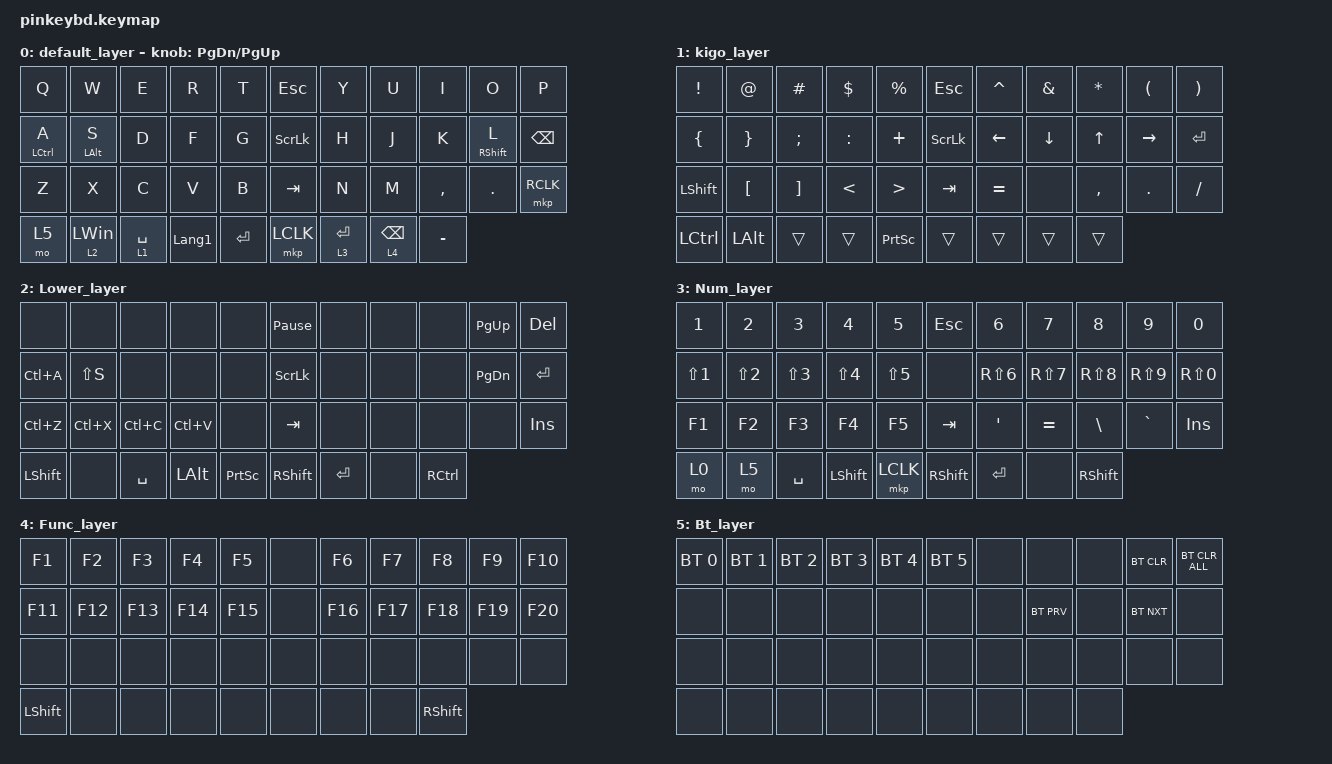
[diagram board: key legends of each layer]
#include <behaviors.dtsi>
#include <dt-bindings/zmk/bt.h>
#include <dt-bindings/zmk/keys.h>
#include <dt-bindings/zmk/pointing.h>

#define ZMK_POINTING_DEFAULT_SCRL_VAL 80

&lt { tapping-term-ms = <140>; };

/ {
    behaviors {
        rot_kp: sensor_rotate_kp {
            compatible = "zmk,behavior-sensor-rotate-var";
            #sensor-binding-cells = <2>;
            bindings = <&kp>, <&kp>;
        };
    };

    keymap {
        compatible = "zmk,keymap";

        // ---------------------------------------------------------------------------------------------------------------------------------------------------------------------------------------------------------------
        // |        /       |       ,       |       .       |      -        |      ;       |    ESC         |                   |           |       L      |       R       |       D       |       Y       |      P      |
        // |        A       |       O       |       E       |      I        |      U       |    SCROLLLOCK  |                   |           |       G      |       N       |       T       |       S       |      K      |
        // |        X       |       C       |       V       |      W        |      Q       |    TAB         |                   |     F     |       J      |       H       |       M       |       B       |      Z      |
        // |    L_SHIFT     |               |               |   LOWER / Jp  |    Space     |    LEFT_WIN    |                   |  R_SHIFT  |      ENTER   |  LOWER2 / Ja  |               |               |   FUN_L     |
        // ---------------------------------------------------------------------------------------------------------------------------------------------------------------------------------------------------------------

        default_layer {
            bindings = <
&kp Q        &kp W           &kp E        &kp R           &kp T      &kp ESC         &kp Y        &kp U            &kp I      &kp O              &kp P
&mt LCTRL A  &mt LEFT_ALT S  &kp D        &kp F           &kp G      &kp SCROLLLOCK  &kp H        &kp J            &kp K      &mt RIGHT_SHIFT L  &kp BACKSPACE
&kp Z        &kp X           &kp C        &kp V           &kp B      &kp TAB         &kp N        &kp M            &kp COMMA  &kp PERIOD         &mkp RCLK
&mo 5        &lt 2 LEFT_WIN  &lt 1 SPACE  &kp LANGUAGE_1  &kp ENTER  &mkp LCLK       &lt 3 ENTER  &lt 4 BACKSPACE  &kp MINUS
            >;

            sensor-bindings = <&rot_kp PG_DN PG_UP>;
        };

        kigo_layer {
            bindings = <
&kp EXCLAMATION  &kp AT_SIGN       &kp HASH           &kp DOLLAR     &kp PERCENT       &kp ESCAPE      &kp CARET  &kp AMPERSAND  &kp ASTERISK  &kp LEFT_PARENTHESIS  &kp RIGHT_PARENTHESIS
&kp LEFT_BRACE   &kp RIGHT_BRACE   &kp SEMICOLON      &kp COLON      &kp PLUS          &kp SCROLLLOCK  &kp LEFT   &kp DOWN       &kp UP_ARROW  &kp RIGHT             &kp ENTER
&kp LEFT_SHIFT   &kp LEFT_BRACKET  &kp RIGHT_BRACKET  &kp LESS_THAN  &kp GREATER_THAN  &kp TAB         &kp EQUAL  &none          &kp COMMA     &kp PERIOD            &kp SLASH
&kp LCTRL        &kp LEFT_ALT      &trans             &trans         &kp PRINTSCREEN   &trans          &trans     &trans         &trans
            >;
        };

        Lower_layer {
            bindings = <
&none       &none      &none      &none      &none      &kp PAUSE_BREAK  &none      &none  &none      &kp PAGE_UP    &kp DELETE
&kp LC(A)   &kp LS(S)  &none      &none      &none      &kp SCROLLLOCK   &none      &none  &none      &kp PAGE_DOWN  &kp ENTER
&kp LC(Z)   &kp LC(X)  &kp LC(C)  &kp LC(V)  &none      &kp TAB          &none      &none  &none      &none          &kp INS
&kp LSHIFT  &none      &kp SPACE  &kp LALT   &kp PSCRN  &kp RSHIFT       &kp ENTER  &none  &kp RCTRL
            >;
        };

        Num_layer {
            bindings = <
&kp N1      &kp N2      &kp N3      &kp N4      &kp N5      &kp ESC     &kp N6      &kp N7      &kp N8      &kp N9      &kp N0
&kp LS(N1)  &kp LS(N2)  &kp LS(N3)  &kp LS(N4)  &kp LS(N5)  &none       &kp RS(N6)  &kp RS(N7)  &kp RS(N8)  &kp RS(N9)  &kp RS(N0)
&kp F1      &kp F2      &kp F3      &kp F4      &kp F5      &kp TAB     &kp APOS    &kp EQUAL   &kp BSLH    &kp GRAVE   &kp INS
&mo 0       &mo 5       &kp SPACE   &kp LSHIFT  &mkp LCLK   &kp RSHIFT  &kp ENTER   &none       &kp RSHIFT
            >;
        };

        Func_layer {
            bindings = <
&kp F1      &kp F2   &kp F3   &kp F4   &kp F5   &none  &kp F6   &kp F7   &kp F8      &kp F9   &kp F10
&kp F11     &kp F12  &kp F13  &kp F14  &kp F15  &none  &kp F16  &kp F17  &kp F18     &kp F19  &kp F20
&none       &none    &none    &none    &none    &none  &none    &none    &none       &none    &none
&kp LSHIFT  &none    &none    &none    &none    &none  &none    &none    &kp RSHIFT
            >;
        };

        Bt_layer {
            bindings = <
&bt BT_SEL 0  &bt BT_SEL 1  &bt BT_SEL 2  &bt BT_SEL 3  &bt BT_SEL 4  &bt BT_SEL 5  &none  &none       &none  &bt BT_CLR  &bt BT_CLR_ALL
&none         &none         &none         &none         &none         &none         &none  &bt BT_PRV  &none  &bt BT_NXT  &none
&none         &none         &none         &none         &none         &none         &none  &none       &none  &none       &none
&none         &none         &none         &none         &none         &none         &none  &none       &none
            >;
        };
    };
};
